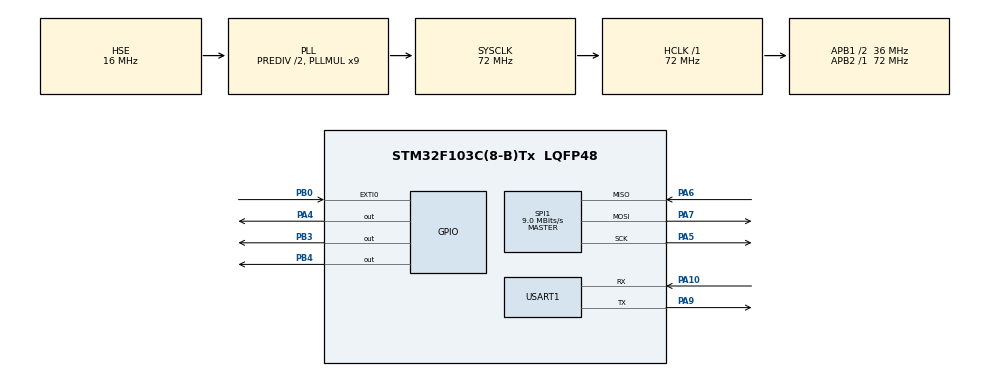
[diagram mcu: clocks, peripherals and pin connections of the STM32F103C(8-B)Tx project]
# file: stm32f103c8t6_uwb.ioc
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Mcu.Family=STM32F1
Mcu.Name=STM32F103C(8-B)Tx
Mcu.Package=LQFP48
NVIC.PriorityGroup=NVIC_PRIORITYGROUP_4
NVIC.SPI1_IRQn=true\:0\:0\:false\:false\:true\:true\:true\:true
NVIC.USART1_IRQn=true\:0\:0\:false\:false\:true\:true\:true\:true
PA10.Mode=Asynchronous
PA10.Signal=USART1_RX
PA13.Mode=Serial_Wire
PA13.Signal=SYS_JTMS-SWDIO
PA14.Mode=Serial_Wire
PA14.Signal=SYS_JTCK-SWCLK
PA4.GPIO_Speed=GPIO_SPEED_FREQ_HIGH
PA4.Signal=GPIO_Output
PA5.Mode=Full_Duplex_Master
PA5.Signal=SPI1_SCK
PA6.Mode=Full_Duplex_Master
PA6.Signal=SPI1_MISO
PA7.Mode=Full_Duplex_Master
PA7.Signal=SPI1_MOSI
PA9.Mode=Asynchronous
PA9.Signal=USART1_TX
PB0.Signal=GPXTI0
PB3.Signal=GPIO_Output
PB4.Signal=GPIO_Output
PD0-OSC_IN.Mode=HSE-External-Oscillator
PD0-OSC_IN.Signal=RCC_OSC_IN
PD1-OSC_OUT.Mode=HSE-External-Oscillator
PD1-OSC_OUT.Signal=RCC_OSC_OUT
ProjectManager.HeapSize=0x400
ProjectManager.StackSize=0x400
ProjectManager.TargetToolchain=MDK-ARM V5.27
RCC.AHBFreq_Value=72000000
RCC.APB1CLKDivider=RCC_HCLK_DIV2
RCC.APB1Freq_Value=36000000
RCC.APB1TimFreq_Value=72000000
RCC.APB2Freq_Value=72000000
RCC.APB2TimFreq_Value=72000000
RCC.HCLKFreq_Value=72000000
RCC.HSEDivPLL=RCC_HSE_PREDIV_DIV2
RCC.HSE_VALUE=16000000
RCC.PLLMUL=RCC_PLL_MUL9
RCC.PLLSourceVirtual=RCC_PLLSOURCE_HSE
RCC.SYSCLKFreq_VALUE=72000000
RCC.SYSCLKSource=RCC_SYSCLKSOURCE_PLLCLK
RCC.USBFreq_Value=72000000
SPI1.BaudRatePrescaler=SPI_BAUDRATEPRESCALER_8
SPI1.CLKPolarity=SPI_POLARITY_LOW
SPI1.CRCCalculation=SPI_CRCCALCULATION_DISABLE
SPI1.CalculateBaudRate=9.0 MBits/s
SPI1.Direction=SPI_DIRECTION_2LINES
SPI1.Mode=SPI_MODE_MASTER
SPI1.VirtualType=VM_MASTER
USART1.VirtualMode=VM_ASYNC
board=custom

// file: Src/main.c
/* USER CODE BEGIN Header */
/**
  ******************************************************************************
  * @file           : main.c
  * @brief          : Main program body
  ******************************************************************************
  * @attention
  *
  * Copyright (c) 2023 STMicroelectronics.
  * All rights reserved.
  *
  * This software is licensed under terms that can be found in the LICENSE file
  * in the root directory of this software component.
  * If no LICENSE file comes with this software, it is provided AS-IS.
  *
  ******************************************************************************
  */
/* USER CODE END Header */
#include "main.h"
#include "spi.h"
#include "usart.h"
#include "gpio.h"

/* USER CODE BEGIN Includes */
#include <stdio.h>
#include <string.h>
#include "stdio.h"
#include "EventRecorder.h"
#include "dw1000.h"
#include "deca_device_api.h"
#include "deca_regs.h"
#include "math.h"
/* USER CODE END Includes */

/* USER CODE BEGIN PTD */

#define RNG_DELAY_MS 2

/* Default communication configuration. We use here EVK1000's default mode (mode 3). */
static dwt_config_t config =
{
    2,               /* Channel number. */
    DWT_PRF_64M,     /* Pulse repetition frequency. */
    DWT_PLEN_1024,   /* Preamble length. */
    DWT_PAC32,       /* Preamble acquisition chunk size. Used in RX only. */
    9,               /* TX preamble code. Used in TX only. */
    9,               /* RX preamble code. Used in RX only. */
    1,               /* Use non-standard SFD (Boolean) */
    DWT_BR_110K,     /* Data rate. */
    DWT_PHRMODE_STD, /* PHY header mode. */
    (1025 + 64 - 32) /* SFD timeout (preamble length + 1 + SFD length - PAC size). Used in RX only. */
};

/* Default antenna delay values for 64 MHz PRF. See NOTE 1 below. */
//#define TX_ANT_DLY 16436
//#define RX_ANT_DLY 16436
#define TX_ANT_DLY 0
#define RX_ANT_DLY 32950

/* Frames used in the ranging process. See NOTE 2 below. */
static uint8 rx_poll_msg[] =  {0x41, 0x88, 0, 0x0, 0xDE, 'W', 'A', 'V', 'E', 0x21, 0, 0};
static uint8 tx_resp_msg[] =  {0x41, 0x88, 0, 0x0, 0xDE, 'V', 'E', 'W', 'A', 0x10, 0x02, 0, 0, 0, 0};
static uint8 rx_final_msg[] = {0x41, 0x88, 0, 0x0, 0xDE, 'W', 'A', 'V', 'E', 0x23, 0, 0, 0, 0, 0, 0, 0, 0, 0, 0, 0, 0, 0, 0, 0};
static uint8 distance_msg[] = {0x41, 0x88, 0, 0x0, 0xDE, 'W', 'A', 'V', 'E', 0xAA, 0, 0,0, 0, 0, 0};
/*
controller_msg		ң�������ݰ�
id					3
state				10
x<<8				11
x		m			12
y<<8				13
y		m			14
yaw<<8				15
yaw		rad			16
*/
static uint8 controller_msg[] = {0x41, 0x88, 0, 0x0, 0xDE, 'W', 'A', 'V', 'E', 0xAE, 0, 0, 0, 0, 0, 0, 0, 0, 0};
static uint8 car_msg[] = {0x41, 0x88, 0, 0x0, 0xDE, 'W', 'A', 'V', 'E', 0xAF, 0, 0, 0, 0, 0, 0, 0, 0, 0};

static uint8 tx_poll_msg[] =  {0x41, 0x88, 0, 0x0, 0xDE, 'W', 'A', 'V', 'E', 0x21, 0, 0};
static uint8 rx_resp_msg[] =  {0x41, 0x88, 0, 0x0, 0xDE, 'V', 'E', 'W', 'A', 0x10, 0x02, 0, 0, 0, 0};
static uint8 tx_final_msg[] = {0x41, 0x88, 0, 0x0, 0xDE, 'W', 'A', 'V', 'E', 0x23, 0, 0, 0, 0, 0, 0, 0, 0, 0, 0, 0, 0, 0, 0};
static uint8 angle_msg[] =    {0x41, 0x88, 0, 0x0, 0xDE, 'W', 'A', 'V', 'E', 0xFE, 0, 0, 0, 0, 0, 0, 0, 0, 0, 0, 0, 0, 0, 0, 0, 0, 0, 0, 0, 0, 0};
static uint8 Semaphore_Release[] =    {0x41, 0x88, 0, 0x0, 0xDE, 'W', 'A', 'V', 'E', 0xE0, 0, 0, 0};
static uint8 Tag_Statistics[] =                      {0x41, 0x88, 0, 0x0, 0xDE, 'W', 'A', 'V', 'E', 0xE1, 0, 0, 0};
static uint8 Master_Release_Semaphore[] =            {0x41, 0x88, 0, 0x0, 0xDE, 'W', 'A', 'V', 'E', 0xE2, 0, 0, 0};
static uint8 Tag_Statistics_response[] =             {0x41, 0x88, 0, 0x0, 0xDE, 'W', 'A', 'V', 'E', 0xE3, 0, 0, 0};
static uint8 Master_Release_Semaphore_comfirm[] =    {0x41, 0x88, 0, 0x0, 0xDE, 'W', 'A', 'V', 'E', 0xE4, 0, 0, 0};

/* Length of the common part of the message (up to and including the function code, see NOTE 2 below). */
#define ALL_MSG_COMMON_LEN 10
/* Index to access some of the fields in the frames involved in the process. */
#define ALL_MSG_SN_IDX 2
#define ALL_MSG_TAG_IDX 3
#define FINAL_MSG_POLL_TX_TS_IDX 10
#define FINAL_MSG_RESP_RX_TS_IDX 14
#define FINAL_MSG_FINAL_TX_TS_IDX 18
#define FINAL_MSG_TS_LEN 4
#define ANGLE_MSG_IDX 10
#define LOCATION_FLAG_IDX 11
#define LOCATION_INFO_LEN_IDX 12
#define LOCATION_INFO_START_IDX 13
#define ANGLE_MSG_MAX_LEN 30

/* Frame sequence number, incremented after each transmission. */
static uint8 frame_seq_nb = 0;
static uint8 frame_seq_nb_semaphore = 0;

/* Buffer to store received messages.
 * Its size is adjusted to longest frame that this example code is supposed to handle. */
#define RX_BUF_LEN 30
static uint8 rx_buffer[RX_BUF_LEN];

/* Hold copy of status register state here for reference, so reader can examine it at a breakpoint. */
static uint32 status_reg = 0;

/* UWB microsecond (uus) to device time unit (dtu, around 15.65 ps) conversion factor.
 * 1 uus = 512 / 499.2 ? and 1 ? = 499.2 * 128 dtu. */
#define UUS_TO_DWT_TIME 65536

/* Delay between frames, in UWB microseconds. See NOTE 4 below. */
/* This is the delay from Frame RX timestamp to TX reply timestamp used for calculating/setting the DW1000's delayed TX function. This includes the
 * frame length of approximately 2.46 ms with above configuration. */
#define POLL_RX_TO_RESP_TX_DLY_UUS 2600
/* This is the delay from the end of the frame transmission to the enable of the receiver, as programmed for the DW1000's wait for response feature. */
#define RESP_TX_TO_FINAL_RX_DLY_UUS 500
/* Receive final timeout. See NOTE 5 below. */
#define FINAL_RX_TIMEOUT_UUS 8000

/* Delay between frames, in UWB microseconds. See NOTE 4 below. */
/* This is the delay from the end of the frame transmission to the enable of the receiver, as programmed for the DW1000's wait for response feature. */
#define POLL_TX_TO_RESP_RX_DLY_UUS 150
/* This is the delay from Frame RX timestamp to TX reply timestamp used for calculating/setting the DW1000's delayed TX function. This includes the
 * frame length of approximately 2.66 ms with above configuration. */
#define RESP_RX_TO_FINAL_TX_DLY_UUS 2800 //2700 will fail
/* Receive response timeout. See NOTE 5 below. */
#define RESP_RX_TIMEOUT_UUS 3300

typedef __packed struct
{
	uint8_t hander1;
	uint8_t hander2;
	uint8_t id;
	uint8_t state;
	float x;
	float y;
	float yaw;
	uint8_t ender;
}controller_rx_t;
controller_rx_t controller_rx;
uint8_t controller_rx_date[17];

/* Timestamps of frames transmission/reception.
 * As they are 40-bit wide, we need to define a 64-bit int type to handle them. */
typedef signed long long int64;
typedef unsigned long long uint64;
static uint64 poll_rx_ts;
static uint64 resp_tx_ts;
static uint64 final_rx_ts;

static uint64 poll_tx_ts;
static uint64 resp_rx_ts;
static uint64 final_tx_ts;

/* Speed of light in air, in metres per second. */
#ifndef SPEED_OF_LIGHT
#define SPEED_OF_LIGHT 299702547
#endif

/* Hold copies of computed time of flight and distance here for reference, so reader can examine it at a breakpoint. */
static double tof;
static double distance;

/* String used to display measured distance on LCD screen (16 characters maximum). */
char dist_str[16] = {0};

/* Declaration of static functions. */
static uint64 get_tx_timestamp_u64(void);
static uint64 get_rx_timestamp_u64(void);
static void final_msg_get_ts(const uint8 *ts_field, uint32 *ts);
static void final_msg_set_ts(uint8 *ts_field, uint64 ts);
static void computer_angle_send_to_anthor0(int distance1, int distance2,int distance3, int distance4);
static void distance_mange(void);
void USART_puts(uint8_t *s,uint8_t len);

#define TAG
#define TAG_ID 0x0F
#define MASTER_TAG 0x0F
#define MAX_SLAVE_TAG 0x02
#define SLAVE_TAG_START_INDEX 0x01

#define CAR_NUM	3
//#define ANCHOR
#define ANCHOR_MAX_NUM 3
#define ANCHOR_IND 0  // 0 1 2
//#define ANCHOR_IND ANCHOR_NUM

uint8 Semaphore[MAX_SLAVE_TAG];

int Anthordistance[ANCHOR_MAX_NUM];
int Anthordistance_count[ANCHOR_MAX_NUM];

#define ANCHOR_REFRESH_COUNT 5

/* Private macro ---------- ---------------------------------------------------*/
/* Private variables ---------------------------------------------------------*/

/* Private function prototypes -----------------------------------------------*/
#ifdef __GNUC__
/* With GCC/RAISONANCE, small printf (option LD Linker->Libraries->Small printf
   set to 'Yes') calls __io_putchar() */
#define PUTCHAR_PROTOTYPE int __io_putchar(int ch)
#else
#define PUTCHAR_PROTOTYPE int fputc(int ch, FILE *f)
#endif /* __GNUC__ */

#ifdef TAG
typedef struct
{
	uint8_t state;
	float x;
	float y;
	float yaw;
}car_measure_t;
car_measure_t target_car_measure;
car_measure_t car_measure;
#endif
#ifdef ANCHOR
typedef struct
{
	uint8_t state;
	float x;
	float y;
	float yaw;
}car_measure_t;
car_measure_t target_car_measure[CAR_NUM];
car_measure_t car_measure[CAR_NUM];
#endif

void Anchor_Array_Init(void)
{
    int anchor_index = 0;
    for(anchor_index = 0; anchor_index < ANCHOR_MAX_NUM; anchor_index++)
    {
        Anthordistance[anchor_index] = 0;
        Anthordistance_count[anchor_index] = 0;
    }
}
void Semaphore_Init(void)
{
    int tag_index = 0 ;
    for(tag_index = 0; tag_index <MAX_SLAVE_TAG; tag_index++)
    {
        Semaphore[tag_index]  = 0;
    }
}

int Sum_Tag_Semaphore_request(void)
{
    int tag_index = 0 ;
    int sum_request = 0;
    for(tag_index = SLAVE_TAG_START_INDEX; tag_index <MAX_SLAVE_TAG; tag_index++)
    {
        sum_request+=Semaphore[tag_index];
    }
    return sum_request;
}

static uint16_t dis_tasndsfsdf;

float parseSignedFloat(uint8_t highByte, uint8_t lowByte, float scale) {
    int16_t value = (highByte << 8) | lowByte; // ���Ϊ16λ�з�������
    return (float)value / scale; // Ӧ����������
}

// ��������ת��Ϊ�з���16λ���������Ϊ�����ֽ�
void floatToSignedBytes(float value, float scale, uint8_t* highByte, uint8_t* lowByte) {
    int16_t fixedPoint = (int16_t)(value * scale); // ת��Ϊ������
    *highByte = (fixedPoint >> 8) & 0xFF; // ���ֽ�
    *lowByte = fixedPoint & 0xFF; // ���ֽ�
}
#ifdef TAG
void car_task(void)
{
	uint8_t frame_len;
	dwt_setrxaftertxdelay(POLL_TX_TO_RESP_RX_DLY_UUS);
	dwt_setrxtimeout(FINAL_RX_TIMEOUT_UUS);

	car_msg[3] = TAG_ID;
    floatToSignedBytes(car_measure.x, 100.0f, &car_msg[11], &car_msg[12]);
    floatToSignedBytes(car_measure.y, 100.0f, &car_msg[13], &car_msg[14]);
    floatToSignedBytes(car_measure.yaw, 100.0f, &car_msg[15], &car_msg[16]);

	dwt_writetxdata(sizeof(car_msg), car_msg, 0);
	dwt_writetxfctrl(sizeof(car_msg), 0);
	dwt_starttx(DWT_START_TX_IMMEDIATE| DWT_RESPONSE_EXPECTED);

	dwt_rxenable(0);
	while (!((status_reg = dwt_read32bitreg(SYS_STATUS_ID)) & (SYS_STATUS_RXFCG | SYS_STATUS_ALL_RX_ERR)))
	{ };
	if (status_reg & SYS_STATUS_RXFCG)
	{
		dwt_write32bitreg(SYS_STATUS_ID, SYS_STATUS_RXFCG | SYS_STATUS_TXFRS);
		frame_len = dwt_read32bitreg(RX_FINFO_ID) & RX_FINFO_RXFL_MASK_1023;
		if (frame_len <= RX_BUFFER_LEN)
		{
			dwt_readrxdata(rx_buffer, frame_len, 0);
		}

		if(rx_buffer[3] == TAG_ID)
		{
            rx_buffer[2] = 0;
            rx_buffer[3] = 0;
			if (memcmp(rx_buffer, controller_msg, ALL_MSG_COMMON_LEN) == 0)
			{
				target_car_measure.state = rx_buffer[10];
				target_car_measure.x = parseSignedFloat(rx_buffer[11], rx_buffer[12], 100.0f);
				target_car_measure.y = parseSignedFloat(rx_buffer[13], rx_buffer[14], 100.0f);
				target_car_measure.yaw = parseSignedFloat(rx_buffer[15], rx_buffer[16], 100.0f);
			}
		}
	}
}
#endif
void Tag_Measure_Dis(void)
{
    uint8 dest_anthor = 0,frame_len = 0;
    float final_distance = 0;
    for(dest_anthor = 0 ;  dest_anthor<ANCHOR_MAX_NUM; dest_anthor++)
    {
        dwt_setrxaftertxdelay(POLL_TX_TO_RESP_RX_DLY_UUS);
        dwt_setrxtimeout(RESP_RX_TIMEOUT_UUS);
        /* Write frame data to DW1000 and prepare transmission. See NOTE 7 below. */
        tx_poll_msg[ALL_MSG_SN_IDX] = frame_seq_nb;
        tx_poll_msg[ALL_MSG_TAG_IDX] = TAG_ID;//?????????,???TAG_ID,??????????,?????TAG_ID,??TAG_ID??????

        dwt_writetxdata(sizeof(tx_poll_msg), tx_poll_msg, 0);
        dwt_writetxfctrl(sizeof(tx_poll_msg), 0);

        /* Start transmission, indicating that a response is expected so that reception is enabled automatically after the frame is sent and the delay
         * set by dwt_setrxaftertxdelay() has elapsed. */
        dwt_starttx(DWT_START_TX_IMMEDIATE| DWT_RESPONSE_EXPECTED);

        //GPIO_SetBits(GPIOA,GPIO_Pin_2);
        //TODO
        dwt_rxenable(0);//?????,??tx???????rx,????debug ?????????,??????rx

        /* We assume that the transmission is achieved correctly, poll for reception of a frame or error/timeout. See NOTE 8 below. */
        while (!((status_reg = dwt_read32bitreg(SYS_STATUS_ID)) & (SYS_STATUS_RXFCG | SYS_STATUS_ALL_RX_ERR)))
        { };
//        GPIO_SetBits(GPIOA,GPIO_Pin_1);

        if (status_reg & SYS_STATUS_RXFCG)
        {
            /* Clear good RX frame event and TX frame sent in the DW1000 status register. */
            dwt_write32bitreg(SYS_STATUS_ID, SYS_STATUS_RXFCG | SYS_STATUS_TXFRS);

            /* A frame has been received, read it into the local buffer. */
            frame_len = dwt_read32bitreg(RX_FINFO_ID) & RX_FINFO_RXFLEN_MASK;
            if (frame_len <= RX_BUF_LEN)
            {
                dwt_readrxdata(rx_buffer, frame_len, 0);
            }

            if(rx_buffer[ALL_MSG_TAG_IDX] != TAG_ID)//??TAG_ID
                continue;
            rx_buffer[ALL_MSG_TAG_IDX] = 0;

            /* As the sequence number field of the frame is not relevant, it is cleared to simplify the validation of the frame. */
            rx_buffer[ALL_MSG_SN_IDX] = 0;

            if (memcmp(rx_buffer, rx_resp_msg, ALL_MSG_COMMON_LEN) == 0)
            {
                uint32 final_tx_time;

//				dwt_setrxaftertxdelay(RESP_RX_TO_FINAL_TX_DLY_UUS);
//				dwt_setrxtimeout(RESP_RX_TIMEOUT_UUS);
                /* Retrieve poll transmission and response reception timestamp. */
                poll_tx_ts = get_tx_timestamp_u64();
                resp_rx_ts = get_rx_timestamp_u64();

                /* Compute final message transmission time. See NOTE 9 below. */
                final_tx_time = (resp_rx_ts + (RESP_RX_TO_FINAL_TX_DLY_UUS * UUS_TO_DWT_TIME)) >> 8;
                dwt_setdelayedtrxtime(final_tx_time);

                /* Final TX timestamp is the transmission time we programmed plus the TX antenna delay. */
                final_tx_ts = (((uint64)(final_tx_time & 0xFFFFFFFE)) << 8) + TX_ANT_DLY;

                /* Write all timestamps in the final message. See NOTE 10 below. */
                final_msg_set_ts(&tx_final_msg[FINAL_MSG_POLL_TX_TS_IDX], poll_tx_ts);
                final_msg_set_ts(&tx_final_msg[FINAL_MSG_RESP_RX_TS_IDX], resp_rx_ts);
                final_msg_set_ts(&tx_final_msg[FINAL_MSG_FINAL_TX_TS_IDX], final_tx_ts);

                /* Write and send final message. See NOTE 7 below. */
                tx_final_msg[ALL_MSG_SN_IDX] = frame_seq_nb;
                tx_final_msg[ALL_MSG_TAG_IDX] = TAG_ID;

				dwt_setrxaftertxdelay(POLL_TX_TO_RESP_RX_DLY_UUS);
				dwt_setrxtimeout(RESP_RX_TIMEOUT_UUS);
                dwt_writetxdata(sizeof(tx_final_msg), tx_final_msg, 0);
                dwt_writetxfctrl(sizeof(tx_final_msg), 0);

				dwt_starttx(DWT_START_TX_IMMEDIATE| DWT_RESPONSE_EXPECTED);
				dwt_rxenable(0);

                while (!((status_reg = dwt_read32bitreg(SYS_STATUS_ID)) & (SYS_STATUS_RXFCG | SYS_STATUS_ALL_RX_ERR)))
                { };

                /* Increment frame sequence number after transmission of the poll message (modulo 256). */
				if (status_reg & SYS_STATUS_RXFCG)
                {
                    /* Clear good/fail RX frame event in the DW1000 status register. */
                    dwt_write32bitreg(SYS_STATUS_ID, SYS_STATUS_RXFCG | SYS_STATUS_TXFRS);
                    /* A frame has been received, read it into the local buffer. */
                    frame_len = dwt_read32bitreg(RX_FINFO_ID) & RX_FINFO_RXFLEN_MASK;
                    if (frame_len <= RX_BUF_LEN)
                    {
                        dwt_readrxdata(rx_buffer, frame_len, 0);
                    }

                    if(rx_buffer[ALL_MSG_TAG_IDX] != TAG_ID)
                        continue;
                    rx_buffer[ALL_MSG_TAG_IDX] = 0;

                    /*As the sequence number field of the frame is not relevant, it is cleared to simplify the validation of the frame. */
                    rx_buffer[ALL_MSG_SN_IDX] = 0;

                    if (memcmp(rx_buffer, distance_msg, ALL_MSG_COMMON_LEN) == 0)
                    {
						if(rx_buffer[12]==0x6F)
							dis_tasndsfsdf = (rx_buffer[10]<<8|rx_buffer[11]);
						else
							Anthordistance[rx_buffer[12]] +=(rx_buffer[10]*1000 + rx_buffer[11]*10);
                        // final_distance = rx_buffer[10] + (float)rx_buffer[11]/100;
                        Anthordistance_count[rx_buffer[12]] ++;
                        {
                            int Anchor_Index = 0;
                            while(Anchor_Index < ANCHOR_MAX_NUM)
                            {
                                if(Anthordistance_count[Anchor_Index] >=ANCHOR_REFRESH_COUNT )
                                {
                                    distance_mange();
                                    Anchor_Index = 0;
                                    //clear all
                                    while(Anchor_Index < ANCHOR_MAX_NUM)
                                    {
                                        Anthordistance_count[Anchor_Index] = 0;
                                        Anthordistance[Anchor_Index] = 0;
                                        Anchor_Index++;
                                    }
                                    break;
                                }
                                Anchor_Index++;
                            }
                        }
                    }
                }
                else
                {
                    /* Clear RX error events in the DW1000 status register. */
                    dwt_write32bitreg(SYS_STATUS_ID, SYS_STATUS_ALL_RX_ERR);
                }
            }
//			else if (memcmp(rx_buffer, controller_msg, ALL_MSG_COMMON_LEN) == 0)
//			{
//				target_car_measure[0].state = rx_buffer[10];
//				target_car_measure[0].x = (float)((rx_buffer[11]<<8)|rx_buffer[12])/100.0f;
//				target_car_measure[0].y = (float)((rx_buffer[13]<<8)|rx_buffer[14])/100.0f;
//				target_car_measure[0].yaw = (float)((rx_buffer[15]<<8)|rx_buffer[16])/100.0f;
//
//				dwt_setrxaftertxdelay(RESP_TX_TO_FINAL_RX_DLY_UUS);
//				dwt_setrxtimeout(FINAL_RX_TIMEOUT_UUS);
//
//				car_msg[3] = TAG_ID;
//				car_msg[11] = ((uint16_t)(car_measure[CAR_ID].x*100))>>8;
//				car_msg[12] = ((uint16_t)(car_measure[CAR_ID].x*100));
//				car_msg[13] = ((uint16_t)(car_measure[CAR_ID].y*100))>>8;
//				car_msg[14] = ((uint16_t)(car_measure[CAR_ID].y*100));
//				car_msg[15] = ((uint16_t)(car_measure[CAR_ID].yaw*100))>>8;
//				car_msg[16] = ((uint16_t)(car_measure[CAR_ID].yaw*100));
//
//				dwt_writetxdata(sizeof(car_msg), car_msg, 0);
//				dwt_writetxfctrl(sizeof(car_msg), 0);
//				dwt_starttx(DWT_START_TX_IMMEDIATE );
//				while (!(dwt_read32bitreg(SYS_STATUS_ID) & SYS_STATUS_TXFRS))
//				{ };
//			}
        }
        else
        {
            dwt_write32bitreg(SYS_STATUS_ID, SYS_STATUS_ALL_RX_ERR);
        }
        /* Execute a delay between ranging exchanges. */
        // deca_sleep(RNG_DELAY_MS);
        frame_seq_nb++;
    }

}

#define Filter_N 5  //max filter use in this system
#define Filter_D 5  //each filter contain "Filter_D" data
int Value_Buf[Filter_N][Filter_D]= {0};
int filter_index[Filter_N] = {0};
int filter(int input, int fliter_idx )
{
    char count = 0;
    int sum = 0;
    if(input > 0)
    {
        Value_Buf[fliter_idx][filter_index[fliter_idx]++]=input;
        if(filter_index[fliter_idx] == Filter_D) filter_index[fliter_idx] = 0;

        for(count = 0; count<Filter_D; count++)
        {
            sum += Value_Buf[fliter_idx][count];
        }
        return (int)(sum/Filter_D);
    }
    else
    {
        for(count = 0; count<Filter_D; count++)
        {
            sum += Value_Buf[fliter_idx][count];
        }
        return (int)(sum/Filter_D);
    }

}

static void distance_mange(void)
{
    {
        int Anchor_Index = 0;
        while(Anchor_Index < ANCHOR_MAX_NUM)
        {
            if(Anthordistance_count[Anchor_Index] > 0 )
            {
                Anthordistance[Anchor_Index] =filter((int)(Anthordistance[Anchor_Index]/Anthordistance_count[Anchor_Index]),Anchor_Index);
                // Anthordistance[Anchor_Index] =(int)(Anthordistance[Anchor_Index]/Anthordistance_count[Anchor_Index]);
            }
            Anchor_Index++;
        }
    }
    computer_angle_send_to_anthor0(Anthordistance[0], Anthordistance[1],Anthordistance[2], dis_tasndsfsdf);
}

int framenum = 0 ;

#define TAG_MAX_NUM		3

typedef struct
{
	float x;
	float y;
	float yaw;
}pos_t;

typedef struct
{
	float vx;
	float vy;
	float vyaw;
}line_t;

typedef struct
{
	pos_t anthor_pos[2];			//AB
	pos_t anthor_tag_pos;			//C
	pos_t tag_pos[TAG_MAX_NUM];		//D
}pos_para_t;

typedef struct
{
	float anthor_dis;						//b
	float anthor_tag_dis;					//a
	float tag_dis[TAG_MAX_NUM][3];			//edc
}dis_para_t;

typedef struct
{
	dis_para_t	dis;
	pos_para_t	pos;
}dw1000_para_t;

dw1000_para_t dw1000_para;

static float y_before_filter, x_before_filter;
static float cos_data;
static void tag_pos_count(dw1000_para_t *dw_para_point)
{
	float a, b, c, d, e;
	a = dw_para_point->dis.anthor_tag_dis;
	b = dw_para_point->dis.anthor_dis;
	c = dw_para_point->dis.tag_dis[0][2];
	d = dw_para_point->dis.tag_dis[0][1];
	e = dw_para_point->dis.tag_dis[0][0];

	if(a==0&&b==0&&c==0&&d==0&&e==0)
		return;
	cos_data = (pow(a,2)+pow(e,2)-pow(d,2))/(2.0f*a*e);
	x_before_filter = e*sqrt(1.0f-pow(cos_data,2));
	y_before_filter = e*cos_data;

//	first_order_filter_cali(&dw_para_point->pos_filter[0], x_before_filter);
//	first_order_filter_cali(&dw_para_point->pos_filter[1], y_before_filter);
	dw_para_point->pos.tag_pos[0].x = x_before_filter;
	dw_para_point->pos.tag_pos[0].y = y_before_filter;
}

/*
	UWB C8T6-->>���� ZET6
	���ڷ������ݸ�����
	����д����
*/
#define CAR_NO_MOVE			0
#define CAR_CALIBRATE		1
#define CAR_NORMAL_MOVE		2
#define CAR_POSITION_MOVE	3

static uint8_t send_msg1[11];
static uint8_t position_data_flag = 0;
static void computer_angle_send_to_anthor0(int distance1, int distance2,int distance3, int distance4)
{

	dw1000_para.dis.tag_dis[0][0] = (float)distance1/1000.0f;
	dw1000_para.dis.tag_dis[0][1] = (float)distance2/1000.0f;
	dw1000_para.dis.tag_dis[0][2] = (float)distance3/1000.0f;
	dw1000_para.dis.anthor_tag_dis = (float)distance4/1000.0f;
	//���㵱ǰ����λ������
	tag_pos_count(&dw1000_para);

	//ͷ֡����
	send_msg1[0] = 'm';
	send_msg1[1] = 'r';
	send_msg1[2] = target_car_measure.state;		//״̬��־
	send_msg1[9] = 0x01;
	send_msg1[10] = 0x10;
	//�ٶȿ���ģʽ
	if(	target_car_measure.state == CAR_NO_MOVE)
	{

		floatToSignedBytes(0, 100.0f, &send_msg1[3], &send_msg1[4]);
		floatToSignedBytes(0, 100.0f, &send_msg1[5], &send_msg1[6]);
		floatToSignedBytes(0, 100.0f, &send_msg1[7], &send_msg1[8]);
	}
	//λ�ÿ���ģʽ
	else if(target_car_measure.state == CAR_POSITION_MOVE||
			target_car_measure.state == CAR_CALIBRATE||
			target_car_measure.state == CAR_NORMAL_MOVE)
	{
		if(position_data_flag == 0)
		{
			floatToSignedBytes(target_car_measure.x, 100.0f, &send_msg1[3], &send_msg1[4]);
			floatToSignedBytes(target_car_measure.y, 100.0f, &send_msg1[5], &send_msg1[6]);
			floatToSignedBytes(target_car_measure.yaw, 100.0f, &send_msg1[7], &send_msg1[8]);
			if(target_car_measure.state == CAR_POSITION_MOVE)
			{
				send_msg1[2]=3;
				position_data_flag = 1;
			}
		}
		else if(position_data_flag == 1)
		{
			floatToSignedBytes(dw1000_para.pos.tag_pos[0].x, 100.0f, &send_msg1[3], &send_msg1[4]);
			floatToSignedBytes(dw1000_para.pos.tag_pos[0].y, 100.0f, &send_msg1[5], &send_msg1[6]);
			floatToSignedBytes(dw1000_para.pos.tag_pos[0].yaw, 100.0f, &send_msg1[7], &send_msg1[8]);
			position_data_flag = 0;
			send_msg1[2]=4;
		}
	}
	HAL_UART_Transmit(&huart1, send_msg1, 11, 10);

//    }
    //only anthor0 recive angle message
    //angle_msg[ALL_MSG_SN_IDX] = framenum;
    angle_msg[ALL_MSG_TAG_IDX] = TAG_ID;

    dwt_writetxdata(sizeof(angle_msg), angle_msg, 0);
    dwt_writetxfctrl(sizeof(angle_msg), 0);

    /* Start transmission, indicating that a response is expected so that reception is enabled automatically after the frame is sent and the delay
     * set by dwt_setrxaftertxdelay() has elapsed. */
    dwt_starttx(DWT_START_TX_IMMEDIATE );
    while (!(dwt_read32bitreg(SYS_STATUS_ID) & SYS_STATUS_TXFRS))
    { };

    framenum++;
}

/*! ------------------------------------------------------------------------------------------------------------------
 * @fn get_tx_timestamp_u64()
 *
 * @brief Get the TX time-stamp in a 64-bit variable.
 *        /!\ This function assumes that length of time-stamps is 40 bits, for both TX and RX!
 *
 * @param  none
 *
 * @return  64-bit value of the read time-stamp.
 */
static uint64 get_tx_timestamp_u64(void)
{
    uint8 ts_tab[5];
    uint64 ts = 0;
    int i;
    dwt_readtxtimestamp(ts_tab);
    for (i = 4; i >= 0; i--)
    {
        ts <<= 8;
        ts |= ts_tab[i];
    }
    return ts;
}

/*! ------------------------------------------------------------------------------------------------------------------
 * @fn get_rx_timestamp_u64()
 *
 * @brief Get the RX time-stamp in a 64-bit variable.
 *        /!\ This function assumes that length of time-stamps is 40 bits, for both TX and RX!
 *
 * @param  none
 *
 * @return  64-bit value of the read time-stamp.
 */
static uint64 get_rx_timestamp_u64(void)
{
    uint8 ts_tab[5];
    uint64 ts = 0;
    int i;
    dwt_readrxtimestamp(ts_tab);
    for (i = 4; i >= 0; i--)
    {
        ts <<= 8;
        ts |= ts_tab[i];
    }
    return ts;
}

/*! ------------------------------------------------------------------------------------------------------------------
 * @fn final_msg_get_ts()
 *
 * @brief Read a given timestamp value from the final message. In the timestamp fields of the final message, the least
 *        significant byte is at the lower address.
 *
 * @param  ts_field  pointer on the first byte of the timestamp field to read
 *         ts  timestamp value
 *
 * @return none
 */
static void final_msg_get_ts(const uint8 *ts_field, uint32 *ts)
{
    int i;
    *ts = 0;
    for (i = 0; i < FINAL_MSG_TS_LEN; i++)
    {
        *ts += ts_field[i] << (i * 8);
    }
}
/*! ------------------------------------------------------------------------------------------------------------------
 * @fn final_msg_set_ts()
 *
 * @brief Fill a given timestamp field in the final message with the given value. In the timestamp fields of the final
 *        message, the least significant byte is at the lower address.
 *
 * @param  ts_field  pointer on the first byte of the timestamp field to fill
 *         ts  timestamp value
 *
 * @return none
 */
static void final_msg_set_ts(uint8 *ts_field, uint64 ts)
{
    int i;
    for (i = 0; i < FINAL_MSG_TS_LEN; i++)
    {
        ts_field[i] = (uint8) ts;
        ts >>= 8;
    }
}

/**
  * @}
  */
/******************* (C) COPYRIGHT 2011 STMicroelectronics *****END OF FILE****/

/* USER CODE END PTD */

/* USER CODE BEGIN PV */
/* Default communication configuration. We use here EVK1000's default mode (mode 3). */

/* USER CODE END PV */

void SystemClock_Config(void);
/* USER CODE BEGIN PFP */
extern int start_transmiting(void);
extern int start_receiving(void);
extern int start_simple_transmiting();
extern int start_simple_receiving();
extern void start_repeater();
extern void start_distance_meter();
extern void start_dm_agent();
extern uint8_t uart_flag;
/* USER CODE END PFP */

/* USER CODE BEGIN 0 */
uint8_t boat_uart_rx_flag = 0;
uint8_t buffer[20];
/* USER CODE END 0 */

int main(void)
{

  /* MCU Configuration--------------------------------------------------------*/

  /* Reset of all peripherals, Initializes the Flash interface and the Systick. */
  HAL_Init();

  /* Configure the system clock */
  SystemClock_Config();

  /* Initialize all configured peripherals */
  MX_GPIO_Init();
  MX_SPI1_Init();
  MX_USART1_UART_Init();
  /* USER CODE BEGIN 2 */
   uint8 anthor_index = 0;
    uint8 tag_index = 0;
    uint8 tag_index1 = 0;

    uint8 Semaphore_Enable = 0 ;
    uint8 Waiting_TAG_Release_Semaphore = 0;
    int8 frame_len = 0;
    reset_DW1000(); /* Target specific drive of RSTn line into DW1000 low for a period. */

    spi_set_rate_low();
    while(dwt_initialise(DWT_LOADUCODE) == -1)
	{
		//init fail
	};
    spi_set_rate_high();

    /* Configure DW1000. See NOTE 6 below. */
    dwt_configure(&config);
    dwt_setleds(1);
    /* Apply default antenna delay value. See NOTE 1 below. */
    dwt_setrxantennadelay(RX_ANT_DLY);
    dwt_settxantennadelay(TX_ANT_DLY);

//    printf("init pass!\r\n");
#ifdef ANCHOR
    Anchor_Array_Init();
	//HAL_UART_Receive_IT(&huart1, buffer, 12);
  /* USER CODE END 2 */

  /* Infinite loop */
  /* USER CODE BEGIN WHILE */
  while (1)
  {
         /* Clear reception timeout to start next ranging process. */
        dwt_setrxtimeout(0);
        /* Activate reception immediately. */
        dwt_rxenable(0);
        /* Poll for reception of a frame or error/timeout. See NOTE 7 below. */
        while (!((status_reg = dwt_read32bitreg(SYS_STATUS_ID)) & (SYS_STATUS_RXFCG | SYS_STATUS_ALL_RX_ERR)))
        { };

        if (status_reg & SYS_STATUS_RXFCG)
        {
            /* Clear good RX frame event in the DW1000 status register. */
            dwt_write32bitreg(SYS_STATUS_ID, SYS_STATUS_RXFCG | SYS_STATUS_TXFRS);

            /* A frame has been received, read it into the local buffer. */
            frame_len = dwt_read32bitreg(RX_FINFO_ID) & RX_FINFO_RXFL_MASK_1023;
            if (frame_len <= RX_BUFFER_LEN)
            {
                dwt_readrxdata(rx_buffer, frame_len, 0);
            }
            /* Check that the frame is a poll sent by "DS TWR initiator" example.
             * As the sequence number field of the frame is not relevant, it is cleared to simplify the validation of the frame. */

            if(rx_buffer[ALL_MSG_SN_IDX]%ANCHOR_MAX_NUM != ANCHOR_IND)
                continue;

            anthor_index = rx_buffer[ALL_MSG_SN_IDX]%ANCHOR_MAX_NUM;
            tag_index = rx_buffer[ALL_MSG_TAG_IDX];

            rx_buffer[ALL_MSG_SN_IDX] = 0;
            rx_buffer[ALL_MSG_TAG_IDX] = 0;

            if (memcmp(rx_buffer, rx_poll_msg, ALL_MSG_COMMON_LEN) == 0)
            {
                /* Retrieve poll reception timestamp. */
                poll_rx_ts = get_rx_timestamp_u64();

                /* Set expected delay and timeout for final message reception. */
                dwt_setrxaftertxdelay(RESP_TX_TO_FINAL_RX_DLY_UUS);
                dwt_setrxtimeout(FINAL_RX_TIMEOUT_UUS);

                /* Write and send the response message. See NOTE 9 below.*/
                tx_resp_msg[ALL_MSG_SN_IDX] = frame_seq_nb;
                tx_resp_msg[ALL_MSG_TAG_IDX] = tag_index;
                dwt_writetxdata(sizeof(tx_resp_msg), tx_resp_msg, 0);
                dwt_writetxfctrl(sizeof(tx_resp_msg), 0);
                dwt_starttx(DWT_START_TX_IMMEDIATE | DWT_RESPONSE_EXPECTED);

                while (!((status_reg = dwt_read32bitreg(SYS_STATUS_ID)) & (SYS_STATUS_RXFCG | SYS_STATUS_ALL_RX_ERR)))
                { };

                if (status_reg & SYS_STATUS_RXFCG)
                {
                    /* Clear good RX frame event and TX frame sent in the DW1000 status register. */
                    dwt_write32bitreg(SYS_STATUS_ID, SYS_STATUS_RXFCG | SYS_STATUS_TXFRS);

                    /* A frame has been received, read it into the local buffer. */
                    frame_len = dwt_read32bitreg(RX_FINFO_ID) & RX_FINFO_RXFLEN_MASK;
                    if (frame_len <= RX_BUF_LEN)
                    {
                        dwt_readrxdata(rx_buffer, frame_len, 0);
                    }

                    rx_buffer[ALL_MSG_SN_IDX] = 0;
                    if(tag_index != rx_buffer[ALL_MSG_TAG_IDX])
                        continue;
                    rx_buffer[ALL_MSG_TAG_IDX] = 0;
                    if (memcmp(rx_buffer, rx_final_msg, ALL_MSG_COMMON_LEN) == 0)
                    {
                        uint32 poll_tx_ts, resp_rx_ts, final_tx_ts;
                        uint32 poll_rx_ts_32, resp_tx_ts_32, final_rx_ts_32;
                        double Ra, Rb, Da, Db;
                        int64 tof_dtu;

                        /* Retrieve response transmission and final reception timestamps. */
                        resp_tx_ts = get_tx_timestamp_u64();
                        final_rx_ts = get_rx_timestamp_u64();

                        /* Get timestamps embedded in the final message. */
                        final_msg_get_ts(&rx_buffer[FINAL_MSG_POLL_TX_TS_IDX], &poll_tx_ts);
                        final_msg_get_ts(&rx_buffer[FINAL_MSG_RESP_RX_TS_IDX], &resp_rx_ts);
                        final_msg_get_ts(&rx_buffer[FINAL_MSG_FINAL_TX_TS_IDX], &final_tx_ts);

                        /* Compute time of flight. 32-bit subtractions give correct answers even if clock has wrapped. See NOTE 10 below. */
                        poll_rx_ts_32 = (uint32)poll_rx_ts;
                        resp_tx_ts_32 = (uint32)resp_tx_ts;
                        final_rx_ts_32 = (uint32)final_rx_ts;
                        Ra = (double)(resp_rx_ts - poll_tx_ts);
                        Rb = (double)(final_rx_ts_32 - resp_tx_ts_32);
                        Da = (double)(final_tx_ts - resp_rx_ts);
                        Db = (double)(resp_tx_ts_32 - poll_rx_ts_32);
                        tof_dtu = (int64)((Ra * Rb - Da * Db) / (Ra + Rb + Da + Db));

                        tof = tof_dtu * DWT_TIME_UNITS;
                        distance = tof * SPEED_OF_LIGHT;
                        distance = distance - dwt_getrangebias(config.chan,(float)distance, config.prf);//�����ȥ����ϵ��
                        //�����������͸�TAG
                        int temp = (int)(distance*100);
                        distance_msg[10] = temp/100;
                        // a=x;  //�Զ�����ת����ȡ��������
                        distance_msg[11] = temp%100;  //��100���100ȡ�࣬�õ�2λС���������
                        distance_msg[12] = anthor_index;

                        distance_msg[ALL_MSG_SN_IDX] = frame_seq_nb;
                        distance_msg[ALL_MSG_TAG_IDX] = tag_index;
                        dwt_writetxdata(sizeof(distance_msg), distance_msg, 0);
                        dwt_writetxfctrl(sizeof(distance_msg), 0);

                        /* Start transmission, indicating that a response is expected so that reception is enabled automatically after the frame is sent and the delay
                         * set by dwt_setrxaftertxdelay() has elapsed. */
                        dwt_starttx(DWT_START_TX_IMMEDIATE );
						while (!(dwt_read32bitreg(SYS_STATUS_ID) & SYS_STATUS_TXFRS))
						{ };
//						controller_task();
                    }
                }
                else
                {
                    /* Clear RX error events in the DW1000 status register. */
                    dwt_write32bitreg(SYS_STATUS_ID, SYS_STATUS_ALL_RX_ERR);
                }
            }
/*
	ң���� DW1000-->>���� DW1000	��������
	���� DW1000-->>ң���� DW1000 ��̬����
	DW1000����ͨ�ŵ�����

	����ֻ��dw1000�ķ��ͺͽ���
	�ṹ�ܼ򵥣��Ѿ�д���ˣ����Բ���

	�������ݰ�	target_car_measure[tag_id]
	�������ݰ�	car_measure[tag_id]
*/
			//���жϽ�������
			else if (memcmp(rx_buffer, car_msg, ALL_MSG_COMMON_LEN) == 0)
			{
				//��һ��id�ŷ����������
				if(tag_index == 0x0f)
					tag_index1 = 0x00;
				else
					tag_index1 = tag_index;

				car_measure[tag_index1].x = parseSignedFloat(rx_buffer[11], rx_buffer[12], 100.0f);
				car_measure[tag_index1].y = parseSignedFloat(rx_buffer[13], rx_buffer[14], 100.0f);
				car_measure[tag_index1].yaw = parseSignedFloat(rx_buffer[15], rx_buffer[16], 100.0f);

				dwt_setrxaftertxdelay(POLL_RX_TO_RESP_TX_DLY_UUS);
				dwt_setrxtimeout(FINAL_RX_TIMEOUT_UUS);

				//��������׮���Ŀ�������
				controller_msg[3] = tag_index;
				controller_msg[10] = target_car_measure[tag_index1].state;
				floatToSignedBytes(target_car_measure[tag_index1].x, 100.0f, &controller_msg[11], &controller_msg[12]);
				floatToSignedBytes(target_car_measure[tag_index1].y, 100.0f, &controller_msg[13], &controller_msg[14]);
				floatToSignedBytes(target_car_measure[tag_index1].yaw, 100.0f, &controller_msg[15], &controller_msg[16]);

				dwt_writetxdata(sizeof(controller_msg), controller_msg, 0);
				dwt_writetxfctrl(sizeof(controller_msg), 0);
				dwt_starttx(DWT_START_TX_IMMEDIATE );
				while (!(dwt_read32bitreg(SYS_STATUS_ID) & SYS_STATUS_TXFRS))
				{ };

			}
        }
        else
        {
            /* Clear RX error events in the DW1000 status register. */
            dwt_write32bitreg(SYS_STATUS_ID, SYS_STATUS_ALL_RX_ERR);
        }
    }
#endif

#ifdef TAG
    /* Set expected response's delay and timeout. See NOTE 4 and 5 below.
     * As this example only handles one incoming frame with always the same delay and timeout, those values can be set here once for all. */
    dwt_setrxaftertxdelay(POLL_TX_TO_RESP_RX_DLY_UUS);
    dwt_setrxtimeout(RESP_RX_TIMEOUT_UUS);
//    if(TAG_ID == MASTER_TAG)
//        OLED_ShowString(0,2,"   MASTER TAG ");
//    else
//        OLED_ShowString(0,0,"   SLAVE TAG ");

    if(TAG_ID ==  MASTER_TAG)
    {
        Semaphore_Enable = 1 ;
        Semaphore_Init();
        Waiting_TAG_Release_Semaphore = 0;
    }
    else
    {
        Semaphore_Enable = 0 ;
    }
    //Master TAG0
    while(1)
    {
        if(Semaphore_Enable == 1)
        {
//            GPIO_ResetBits(GPIOA,GPIO_Pin_1);
//            GPIO_ResetBits(GPIOA,GPIO_Pin_2);

            //send message to anthor,TAG<->ANTHOR
            Tag_Measure_Dis();//measuer distance between tag and all anthor
			car_task();
            Semaphore_Enable = 0 ;

            if(TAG_ID != MASTER_TAG)
            {
                //send release semaphore to master tag
                Semaphore_Release[ALL_MSG_SN_IDX] = frame_seq_nb;
                Semaphore_Release[ALL_MSG_TAG_IDX] = TAG_ID;
                dwt_writetxdata(sizeof(Semaphore_Release), Semaphore_Release, 0);
                dwt_writetxfctrl(sizeof(Semaphore_Release), 0);

                dwt_starttx(DWT_START_TX_IMMEDIATE );
                while (!(dwt_read32bitreg(SYS_STATUS_ID) & SYS_STATUS_TXFRS))
                { };
//                GPIO_SetBits(GPIOA,GPIO_Pin_2);
            }
        }

        if(TAG_ID == MASTER_TAG)//master  tag
        {
            //statistics tag
            if(Sum_Tag_Semaphore_request() == 0)
            {
                for(tag_index = SLAVE_TAG_START_INDEX; tag_index <MAX_SLAVE_TAG; tag_index++)
                {
                    Tag_Statistics[ALL_MSG_SN_IDX] = 0;
                    Tag_Statistics[ALL_MSG_TAG_IDX] = tag_index;
                    dwt_writetxdata(sizeof(Tag_Statistics), Tag_Statistics, 0);
                    dwt_writetxfctrl(sizeof(Tag_Statistics), 0);
                    dwt_starttx(DWT_START_TX_IMMEDIATE | DWT_RESPONSE_EXPECTED);

                    while (!((status_reg = dwt_read32bitreg(SYS_STATUS_ID)) & (SYS_STATUS_RXFCG | SYS_STATUS_ALL_RX_ERR)))
                    { };

                    if (status_reg & SYS_STATUS_RXFCG)
                    {
                        /* Clear good RX frame event and TX frame sent in the DW1000 status register. */
                        dwt_write32bitreg(SYS_STATUS_ID, SYS_STATUS_RXFCG | SYS_STATUS_TXFRS);
                        /* A frame has been received, read it into the local buffer. */
                        frame_len = dwt_read32bitreg(RX_FINFO_ID) & RX_FINFO_RXFLEN_MASK;
                        if (frame_len <= RX_BUF_LEN)
                        {
                            dwt_readrxdata(rx_buffer, frame_len, 0);
                        }
                        rx_buffer[ALL_MSG_SN_IDX] = 0;

                        if(rx_buffer[ALL_MSG_TAG_IDX] == tag_index)
                        {
                            uint8 temp = rx_buffer[ALL_MSG_TAG_IDX] ;
                            rx_buffer[ALL_MSG_TAG_IDX] =0;
                            if (memcmp(rx_buffer, Tag_Statistics_response, ALL_MSG_COMMON_LEN) == 0)
                            {
                                Semaphore[temp] = 1;
//                                GPIO_SetBits(GPIOA,GPIO_Pin_2);
                            }
                        }
                    }
                    else
                    {
                        /* Clear RX error events in the DW1000 status register. */
                        dwt_write32bitreg(SYS_STATUS_ID, SYS_STATUS_ALL_RX_ERR);
                        //GPIO_SetBits(GPIOA,GPIO_Pin_1);
                    }
                }
                //print all the tags in network
                for(tag_index = SLAVE_TAG_START_INDEX; tag_index <MAX_SLAVE_TAG; tag_index++)
                {
                    if(Semaphore[tag_index] == 1)
                    {
                        // printf("Tag%d In NetWork!\r\n",tag_index);
                    }
                }
            }
            //pick one tag ,send Semaphore message
            //release to specific tag(TAG ID)
            //master tag send release signal,and the specific tag send comfirm message
            if(Waiting_TAG_Release_Semaphore == 0 && Sum_Tag_Semaphore_request() != 0)
            {
                Semaphore[0] = 0;//slave tag must not use tag_id = 0x00!!
                for(tag_index = SLAVE_TAG_START_INDEX; tag_index <MAX_SLAVE_TAG; tag_index++)
                {
                    if(Semaphore[tag_index] == 1)
                    {
                        // printf("Release Semaphore to Tag%d!\r\n",tag_index);
                        // dwt_setrxtimeout(0);

                        dwt_setrxaftertxdelay(POLL_TX_TO_RESP_RX_DLY_UUS);
                        dwt_setrxtimeout(RESP_RX_TIMEOUT_UUS);
                        Master_Release_Semaphore[ALL_MSG_SN_IDX] = 0;
                        Master_Release_Semaphore[ALL_MSG_TAG_IDX] = tag_index;
                        dwt_writetxdata(sizeof(Master_Release_Semaphore), Master_Release_Semaphore, 0);
                        dwt_writetxfctrl(sizeof(Master_Release_Semaphore), 0);
                        dwt_starttx(DWT_START_TX_IMMEDIATE | DWT_RESPONSE_EXPECTED);

                        while (!((status_reg = dwt_read32bitreg(SYS_STATUS_ID)) & (SYS_STATUS_RXFCG | SYS_STATUS_ALL_RX_ERR)))
                        { };

                        if (status_reg & SYS_STATUS_RXFCG)
                        {
//                            GPIO_SetBits(GPIOA,GPIO_Pin_1);
                            dwt_write32bitreg(SYS_STATUS_ID, SYS_STATUS_RXFCG | SYS_STATUS_TXFRS);
                            frame_len = dwt_read32bitreg(RX_FINFO_ID) & RX_FINFO_RXFLEN_MASK;
                            if (frame_len <= RX_BUF_LEN)
                            {
                                dwt_readrxdata(rx_buffer, frame_len, 0);
                            }
                            rx_buffer[ALL_MSG_SN_IDX] = 0;

                            if(rx_buffer[ALL_MSG_TAG_IDX] == tag_index)
                            {
                                rx_buffer[ALL_MSG_TAG_IDX] = 0;
//                                GPIO_SetBits(GPIOA,GPIO_Pin_3);
                                // USART_puts(rx_buffer,frame_len);
                                if (memcmp(rx_buffer, Master_Release_Semaphore_comfirm, ALL_MSG_COMMON_LEN) == 0)
                                {
                                    //if the tag recive a semaphore, wait release remaphore
                                    Waiting_TAG_Release_Semaphore ++;
                                    break;//only release one semphore once
                                }
                            }
                        }
                        else//the tag may leave net,clear semaphore
                        {
                            Semaphore[tag_index] = 0 ;
                            dwt_write32bitreg(SYS_STATUS_ID, SYS_STATUS_ALL_RX_ERR);
                        }
                    }
                }
            }

            if(Waiting_TAG_Release_Semaphore == 0 )
            {
                // GPIO_SetBits(GPIOA,GPIO_Pin_2);GPIO_SetBits(GPIOA,GPIO_Pin_1);
            }
            //Master tag waitting for specific tag Semaphore Release message
            if( Waiting_TAG_Release_Semaphore >0)
            {
                //  printf("Waiting for Release Semaphore!\r\n");
                dwt_setrxtimeout(RESP_RX_TIMEOUT_UUS*5);//about 10ms,need adjust!!
                dwt_rxenable(0);
                while (!((status_reg = dwt_read32bitreg(SYS_STATUS_ID)) & (SYS_STATUS_RXFCG | SYS_STATUS_ALL_RX_ERR)))
                { };

                if (status_reg & SYS_STATUS_RXFCG)
                {
                    dwt_write32bitreg(SYS_STATUS_ID, SYS_STATUS_RXFCG);
                    frame_len = dwt_read32bitreg(RX_FINFO_ID) & RX_FINFO_RXFL_MASK_1023;
                    if (frame_len <= RX_BUFFER_LEN)
                    {
                        dwt_readrxdata(rx_buffer, frame_len, 0);
                    }

                    rx_buffer[ALL_MSG_SN_IDX] = 0;
                    uint8 temp=rx_buffer[ALL_MSG_TAG_IDX] ;
                    rx_buffer[ALL_MSG_TAG_IDX] = 0;
                    if (memcmp(rx_buffer, Semaphore_Release, ALL_MSG_COMMON_LEN) == 0)
                    {
                        if(Semaphore[temp] == 1)
                        {
                            Semaphore[temp] = 0 ;
                            if(Waiting_TAG_Release_Semaphore > 0 )
                            {
                                Waiting_TAG_Release_Semaphore --;
                            }
                        }
                    }
                }
                else
                {
                    //maybe the tag leave network
                    if(Waiting_TAG_Release_Semaphore > 0)
                    {
                        Waiting_TAG_Release_Semaphore--;
                        Semaphore[tag_index] = 0 ;
                    }
                    /* Clear RX error events in the DW1000 status register. */
                    dwt_write32bitreg(SYS_STATUS_ID, SYS_STATUS_ALL_RX_ERR);
                }
            }
            //???????,TAG??Semaphore ?????????,??Master TAG????Semaphore,?????????,??????,???????TAG ??Semaphore,??????
            //if all tag have serviced by  master tag
            //master tag can measure the distance
            if(Sum_Tag_Semaphore_request() == 0)
            {
                Semaphore_Enable = 1 ;
                Waiting_TAG_Release_Semaphore= 0;
            }
        }
        else  //slave tags
        {
            //SLAVE TAG ??????MASTER TAG?????????????
            dwt_setrxtimeout(0);
            dwt_rxenable(0);

            /* Poll for reception of a frame or error/timeout. See NOTE 7 below. */
            while (!((status_reg = dwt_read32bitreg(SYS_STATUS_ID)) & (SYS_STATUS_RXFCG | SYS_STATUS_ALL_RX_ERR)))
            { };

            if (status_reg & SYS_STATUS_RXFCG)
            {
                /* Clear good RX frame event in the DW1000 status register. */
                dwt_write32bitreg(SYS_STATUS_ID, SYS_STATUS_RXFCG|SYS_STATUS_TXFRS);//clear rx & tx flag at the same time

                /* A frame has been received, read it into the local buffer. */
                frame_len = dwt_read32bitreg(RX_FINFO_ID) & RX_FINFO_RXFL_MASK_1023;
                if (frame_len <= RX_BUFFER_LEN)
                {
                    dwt_readrxdata(rx_buffer, frame_len, 0);
                }
                rx_buffer[ALL_MSG_SN_IDX] = 0;
                if(rx_buffer[ALL_MSG_TAG_IDX] == TAG_ID)
                {
                    rx_buffer[ALL_MSG_TAG_IDX] = 0;
                    if (memcmp(rx_buffer, Tag_Statistics, ALL_MSG_COMMON_LEN) == 0)
                    {
                        //GPIO_SetBits(GPIOA,GPIO_Pin_3);
                        Tag_Statistics_response[ALL_MSG_SN_IDX] = frame_seq_nb;
                        Tag_Statistics_response[ALL_MSG_TAG_IDX] = TAG_ID;
                        dwt_writetxdata(sizeof(Tag_Statistics_response), Tag_Statistics_response, 0);
                        dwt_writetxfctrl(sizeof(Tag_Statistics_response), 0);
                        dwt_starttx(DWT_START_TX_IMMEDIATE );

//                        GPIO_SetBits(GPIOA,GPIO_Pin_2);
                    }

                    if (memcmp(rx_buffer, Master_Release_Semaphore, ALL_MSG_COMMON_LEN) == 0)
                    {
                        Master_Release_Semaphore_comfirm[ALL_MSG_SN_IDX] = frame_seq_nb;
                        Master_Release_Semaphore_comfirm[ALL_MSG_TAG_IDX] = TAG_ID;
                        dwt_writetxdata(sizeof(Master_Release_Semaphore_comfirm), Master_Release_Semaphore_comfirm, 0);
                        dwt_writetxfctrl(sizeof(Master_Release_Semaphore_comfirm), 0);

                        dwt_starttx(DWT_START_TX_IMMEDIATE);
                        while (!(dwt_read32bitreg(SYS_STATUS_ID) & SYS_STATUS_TXFRS))
                        { };

                        Semaphore_Enable = 1;
//                        GPIO_SetBits(GPIOA,GPIO_Pin_1);
                    }
                }
            }
            else
            {
                /* Clear RX error events in the DW1000 status register. */
                dwt_write32bitreg(SYS_STATUS_ID, SYS_STATUS_ALL_RX_ERR);
            }
        }
    }
#endif
    /* USER CODE END WHILE */

}

void SystemClock_Config(void)
{
  RCC_OscInitTypeDef RCC_OscInitStruct = {0};
  RCC_ClkInitTypeDef RCC_ClkInitStruct = {0};

  /** Initializes the RCC Oscillators according to the specified parameters
  * in the RCC_OscInitTypeDef structure.
  */
  RCC_OscInitStruct.OscillatorType = RCC_OSCILLATORTYPE_HSE;
  RCC_OscInitStruct.HSEState = RCC_HSE_ON;
  RCC_OscInitStruct.HSEPredivValue = RCC_HSE_PREDIV_DIV2;
  RCC_OscInitStruct.HSIState = RCC_HSI_ON;
  RCC_OscInitStruct.PLL.PLLState = RCC_PLL_ON;
  RCC_OscInitStruct.PLL.PLLSource = RCC_PLLSOURCE_HSE;
  RCC_OscInitStruct.PLL.PLLMUL = RCC_PLL_MUL9;
  if (HAL_RCC_OscConfig(&RCC_OscInitStruct) != HAL_OK)
  {
    Error_Handler();
  }

  /** Initializes the CPU, AHB and APB buses clocks
  */
  RCC_ClkInitStruct.ClockType = RCC_CLOCKTYPE_HCLK|RCC_CLOCKTYPE_SYSCLK
                              |RCC_CLOCKTYPE_PCLK1|RCC_CLOCKTYPE_PCLK2;
  RCC_ClkInitStruct.SYSCLKSource = RCC_SYSCLKSOURCE_PLLCLK;
  RCC_ClkInitStruct.AHBCLKDivider = RCC_SYSCLK_DIV1;
  RCC_ClkInitStruct.APB1CLKDivider = RCC_HCLK_DIV2;
  RCC_ClkInitStruct.APB2CLKDivider = RCC_HCLK_DIV1;

  if (HAL_RCC_ClockConfig(&RCC_ClkInitStruct, FLASH_LATENCY_2) != HAL_OK)
  {
    Error_Handler();
  }
}

/* USER CODE BEGIN 4 */

void HAL_UART_RxCpltCallback(UART_HandleTypeDef *huart)
{
          if(huart == &huart1)
						boat_uart_rx_flag = 1;
}

/* USER CODE END 4 */

void Error_Handler(void)
{
  __disable_irq();
  while (1)
  {
  }
}
